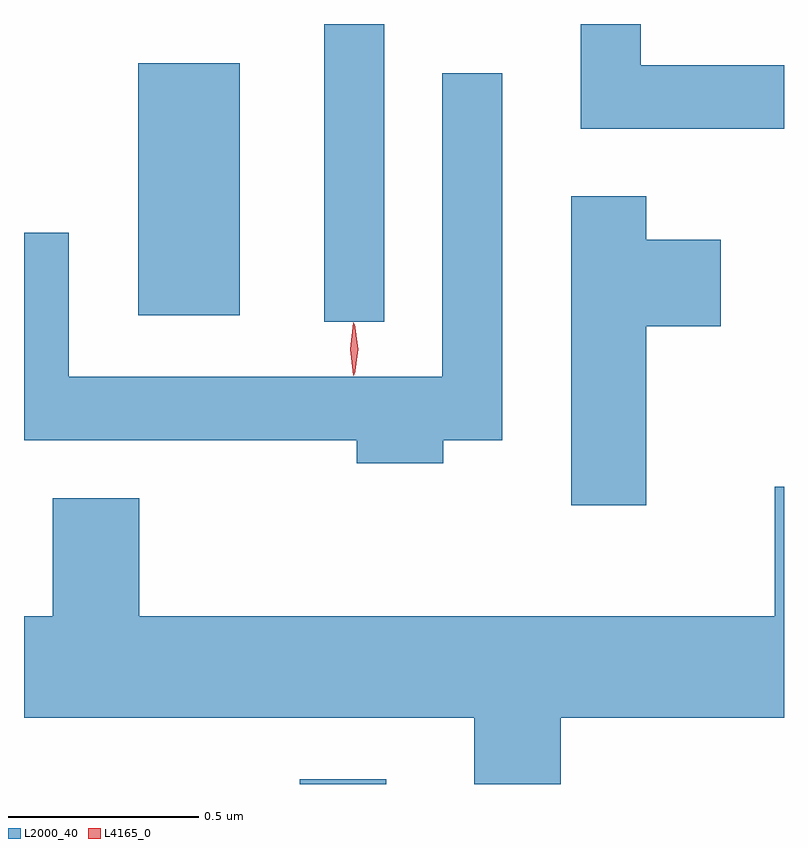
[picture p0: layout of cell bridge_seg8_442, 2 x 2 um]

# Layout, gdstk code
import gdstk
lib = gdstk.Library(unit=1e-6, precision=1e-09)
def R(c, l, rs):  # rectangles x0, y0, x1, y1
    for r in rs: c.add(gdstk.rectangle(r[:2], r[2:], *l))
def P(c, l, *ps):  # polygons
    for p in ps: c.add(gdstk.Polygon(p, *l))
L2000_40 = (2000, 40)
L4165_0 = (4165, 0)

bridge_seg8_442 = lib.new_cell('bridge_seg8_442')
R(bridge_seg8_442, L2000_40, [(986.031,1818.482,986.259,1818.494), (986.096,1819.698,986.254,1820.482), (985.606,1819.716,985.874,1820.379)])
P(bridge_seg8_442, L2000_40, [(987.306,1820.374),(986.929,1820.374),(986.929,1820.482),(986.771,1820.482),(986.771,1820.206),(987.306,1820.206)],
  [(986.409,1819.386),(986.564,1819.386),(986.564,1820.353),(986.406,1820.353),(986.406,1819.554),(985.424,1819.554),(985.424,1819.933),(985.306,1819.933),(985.306,1819.386),(986.181,1819.386),(986.181,1819.326),(986.409,1819.326)],
  [(986.944,1819.686),(987.139,1819.686),(987.139,1819.914),(986.944,1819.914),(986.944,1820.029),(986.746,1820.029),(986.746,1819.216),(986.944,1819.216)],
  [(986.719,1818.656),(987.306,1818.656),(987.306,1819.264),(987.281,1819.264),(987.281,1818.924),(985.609,1818.924),(985.609,1819.234),(985.381,1819.234),(985.381,1818.924),(985.306,1818.924),(985.306,1818.656),(986.491,1818.656),(986.491,1818.482),(986.719,1818.482)])
P(bridge_seg8_442, L4165_0, [(986.174,1819.557),(986.173,1819.558),(986.164,1819.626),(986.173,1819.696),(986.174,1819.696),(986.174,1819.696),(986.184,1819.626),(986.174,1819.558)],
  [(986.177,1819.559),(986.176,1819.56),(986.166,1819.626),(986.176,1819.692),(986.176,1819.693),(986.177,1819.692),(986.186,1819.626),(986.177,1819.56)])

lib.write_gds('bridge_seg8_442.gds')
